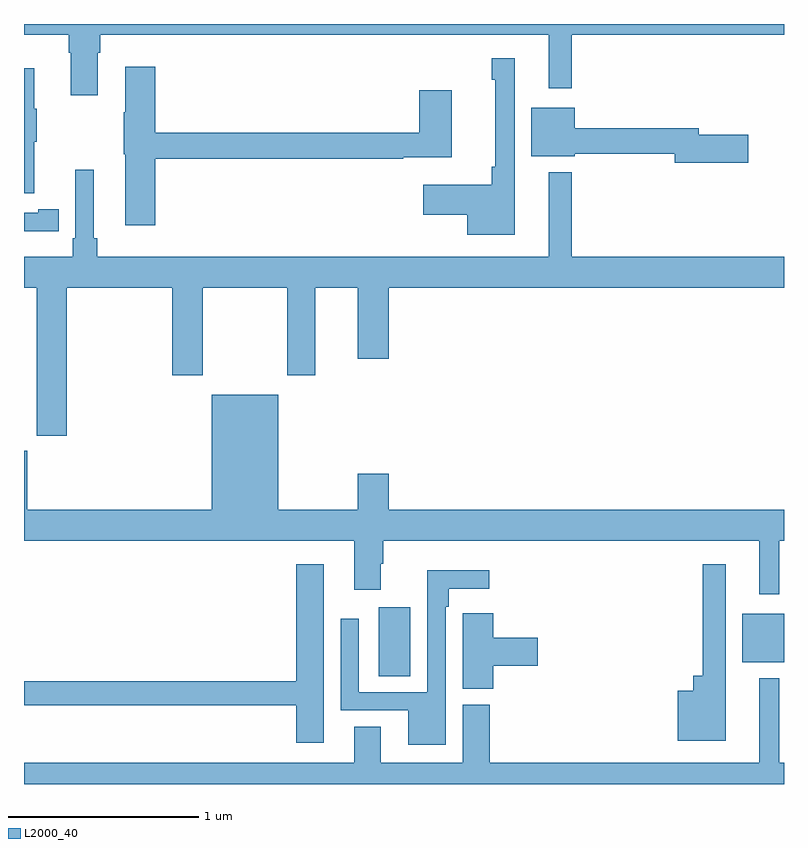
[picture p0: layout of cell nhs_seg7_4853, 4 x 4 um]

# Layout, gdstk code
import gdstk
lib = gdstk.Library(unit=1e-6, precision=1e-09)
def R(c, l, rs):  # rectangles x0, y0, x1, y1
    for r in rs: c.add(gdstk.rectangle(r[:2], r[2:], *l))
def P(c, l, *ps):  # polygons
    for p in ps: c.add(gdstk.Polygon(p, *l))
L2000_40 = (2000, 40)

nhs_seg7_4853 = lib.new_cell('nhs_seg7_4853')
R(nhs_seg7_4853, L2000_40, [(416.867,1002.568,417.034,1002.931), (418.781,1002.641,419,1002.895)])
P(nhs_seg7_4853, L2000_40, [(415.387,1005.848),(415.4,1005.848),(415.4,1005.944),(417.761,1005.944),(417.761,1005.663),(417.883,1005.663),(417.883,1005.944),(419,1005.944),(419,1006),(415,1006),(415,1005.944),(415.235,1005.944),(415.235,1005.848),(415.247,1005.848),(415.247,1005.624),(415.387,1005.624)],
  [(417.583,1005.82),(417.462,1005.82),(417.462,1005.707),(417.479,1005.707),(417.479,1005.25),(417.462,1005.25),(417.462,1005.154),(417.102,1005.154),(417.102,1004.996),(417.332,1004.996),(417.332,1004.891),(417.583,1004.891)],
  [(415.691,1005.292),(416.996,1005.292),(416.996,1005.299),(417.25,1005.299),(417.25,1005.652),(417.08,1005.652),(417.08,1005.428),(415.691,1005.428),(415.691,1005.775),(415.532,1005.775),(415.532,1005.536),(415.525,1005.536),(415.525,1005.315),(415.532,1005.315),(415.532,1004.94),(415.691,1004.94)],
  [(415.055,1005.379),(415.066,1005.379),(415.066,1005.553),(415.055,1005.553),(415.055,1005.766),(415,1005.766),(415,1005.108),(415.055,1005.108)],
  [(418.813,1005.416),(418.552,1005.416),(418.552,1005.452),(417.898,1005.452),(417.898,1005.559),(417.671,1005.559),(417.671,1005.305),(417.898,1005.305),(417.898,1005.316),(418.424,1005.316),(418.424,1005.269),(418.813,1005.269)],
  [(415.226,1004.612),(415.781,1004.612),(415.781,1004.151),(415.941,1004.151),(415.941,1004.612),(416.386,1004.612),(416.386,1004.151),(416.533,1004.151),(416.533,1004.612),(416.756,1004.612),(416.756,1004.238),(416.92,1004.238),(416.92,1004.612),(419,1004.612),(419,1004.776),(417.883,1004.776),(417.883,1005.22),(417.761,1005.22),(417.761,1004.776),(415.385,1004.776),(415.385,1004.872),(415.366,1004.872),(415.366,1005.232),(415.269,1005.232),(415.269,1004.872),(415.256,1004.872),(415.256,1004.776),(415,1004.776),(415,1004.612),(415.066,1004.612),(415.066,1003.833),(415.226,1003.833)],
  [(415.076,1004.91),(415.184,1004.91),(415.184,1005.026),(415.076,1005.026),(415.076,1005.006),(415,1005.006),(415,1004.909),(415.076,1004.909)],
  [(416.738,1003.023),(416.878,1003.023),(416.878,1003.16),(416.891,1003.16),(416.891,1003.28),(418.871,1003.28),(418.871,1002.999),(418.975,1002.999),(418.975,1003.28),(419,1003.28),(419,1003.444),(416.92,1003.444),(416.92,1003.633),(416.756,1003.633),(416.756,1003.444),(416.338,1003.444),(416.338,1004.05),(415.988,1004.05),(415.988,1003.444),(415.018,1003.444),(415.018,1003.753),(415,1003.753),(415,1003.28),(416.738,1003.28)],
  [(418.693,1003.156),(418.572,1003.156),(418.572,1002.571),(418.523,1002.571),(418.523,1002.49),(418.442,1002.49),(418.442,1002.227),(418.693,1002.227)],
  [(416.578,1003.156),(416.432,1003.156),(416.432,1002.542),(415,1002.542),(415,1002.414),(416.432,1002.414),(416.432,1002.216),(416.578,1002.216)],
  [(417.219,1002.932),(417.235,1002.932),(417.235,1003.028),(417.448,1003.028),(417.448,1003.126),(417.123,1003.126),(417.123,1002.483),(416.763,1002.483),(416.763,1002.871),(416.667,1002.871),(416.667,1002.387),(417.023,1002.387),(417.023,1002.206),(417.219,1002.206)],
  [(417.47,1002.623),(417.703,1002.623),(417.703,1002.77),(417.47,1002.77),(417.47,1002.898),(417.309,1002.898),(417.309,1002.785),(417.308,1002.785),(417.308,1002.502),(417.47,1002.502)],
  [(415,1002),(419,1002),(419,1002.112),(418.975,1002.112),(418.975,1002.556),(418.871,1002.556),(418.871,1002.112),(417.452,1002.112),(417.452,1002.417),(417.308,1002.417),(417.308,1002.112),(416.878,1002.112),(416.878,1002.302),(416.738,1002.302),(416.738,1002.112),(415,1002.112)])

lib.write_gds('nhs_seg7_4853.gds')
